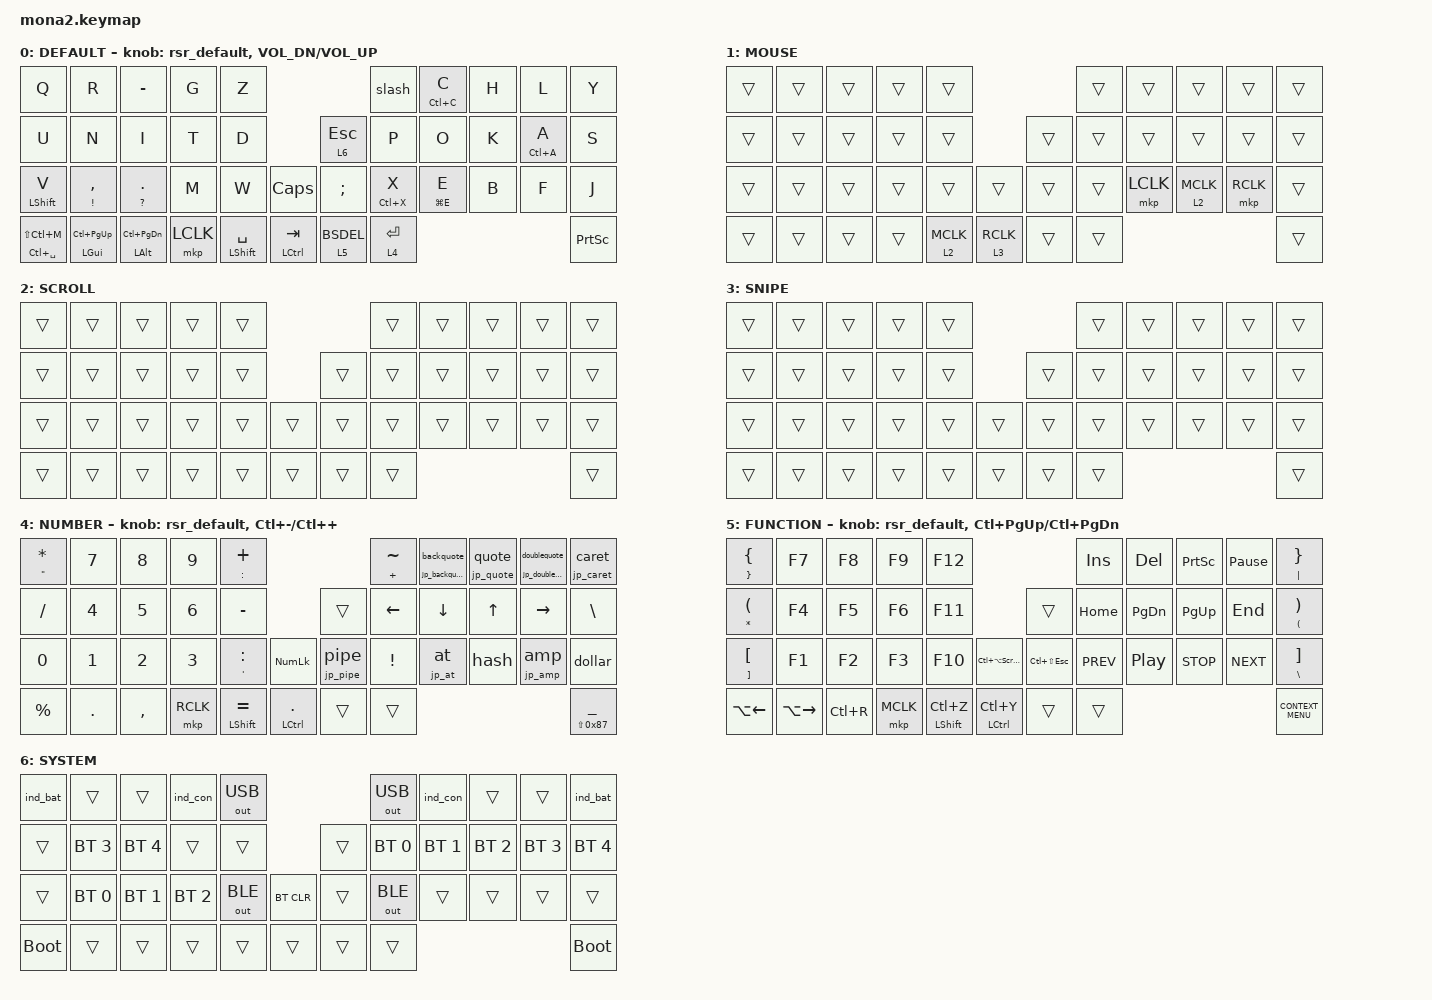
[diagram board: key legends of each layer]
#include <input/processors.dtsi>
#include <dt-bindings/zmk/input_transform.h>
#include <zephyr/dt-bindings/input/input-event-codes.h>
#include <behaviors.dtsi>
#include <behaviors/runtime-sensor-rotate.dtsi>
#include <dt-bindings/zmk/bt.h>
#include <dt-bindings/zmk/keys.h>
#include <dt-bindings/zmk/outputs.h>
#include <dt-bindings/zmk/pointing.h>
#include <behaviors/rgbled_widget.dtsi>

/* ZMK 側で 10 が定義済みなので警告回避のため一旦 undef */
#undef ZMK_POINTING_DEFAULT_SCRL_VAL
#define ZMK_POINTING_DEFAULT_SCRL_VAL 100

// OS設定を日本語キーボードのまま使用するための変換定義

#define JP_DOUBLE_QUOTES       AT                // "
#define JP_AMPERSAND    CARET             // &
#define JP_QUOTE        AMPERSAND         // '
#define JP_EQUAL        UNDER             // =
#define JP_CARET        EQUAL             // ^
#define JP_YEN          0x89              // ¥
#define JP_PLUS         COLON             // +
#define JP_TILDE        PLUS              // ~
#define JP_PIPE         LS(0x89)          // |
#define JP_AT           LEFT_BRACKET      // @
#define JP_COLON        SINGLE_QUOTE      // :
#define JP_ASTERISK     DOUBLE_QUOTES     // *
#define JP_BACKQUOTE    LEFT_BRACE        // `
#define JP_UNDERSCORE   LS(0x87)          // _
#define JP_LEFT_BRACKET     RIGHT_BRACKET     // [
#define JP_RIGHT_BRACKET     BACKSLASH         // ]
#define JP_LEFT_PARENTHESIS       ASTERISK          // (
#define JP_RIGHT_PARENTHESIS       LEFT_PARENTHESIS  // )
#define JP_LEFT_BRACE       RIGHT_BRACE       // {
#define JP_RIGHT_BRACE       PIPE              // }
#define JP_KANA         LANGUAGE_1        // かな
#define JP_EISU         LANGUAGE_2        // 英数
#define JP_HANZEN       GRAVE             // 半角/全角

&mt {
    quick-tap-ms = <175>;
    flavor = "tap-preferred";
};

&lt {
quick-tap-ms = <200>;
flavor = "balanced";
};

&msc {
delay-ms = <0>;
time-to-max-speed-ms = <0>;
acceleration-exponent = <0>;
};

/ {
    combos {
        compatible = "zmk,combos";

        IME_ON {
            bindings = <&imeonoff LA(GRAVE) LANGUAGE_1>;
            key-positions = <19 18>;
            layers = <0 1>;
        };

        win_mv_right {
            bindings = <&winmvright>;
            key-positions = <20 19>;
            slow-release;
            layers = <0 1>;
        };

        win_mv_left {
            bindings = <&winmvleft>;
            key-positions = <10 11>;
            slow-release;
            layers = <0 1>;
        };

        brackets {
            bindings = <&brack 0 0>;
            key-positions = <21 32>;
            layers = <0 1>;
        };

        parenthesis {
            bindings = <&paren 0 0>;
            key-positions = <10 20>;
            layers = <0 1>;
        };

        find_replace {
            bindings = <&holdtap LC(H) LC(F)>;
            key-positions = <22 21>;
            layers = <0 1>;
        };

        paste {
            bindings = <&holdtap LG(V) LC(V)>;
            key-positions = <18 17>;
            layers = <0 1>;
        };

        dblsft {
            bindings = <&DBLSFT>;
            key-positions = <12 13>;
            layers = <0 1>;
        };

        IME_OFF {
            bindings = <&kp LANGUAGE_2>;
            key-positions = <11 12>;
            layers = <0 1>;
        };

        braces {
            bindings = <&brace 0 0>;
            key-positions = <0 9>;
            layers = <0 1>;
        };

        undo {
            bindings = <&kp LC(Z)>;
            key-positions = <23 22>;
            layers = <0 1>;
        };

        redo {
            bindings = <&kp LC(Y)>;
            key-positions = <31 30>;
            layers = <0 1>;
        };

        taskview {
            bindings = <&kp LG(TAB)>;
            key-positions = <18 17>;
            layers = <4>;
        };

        close {
            bindings = <&holdtap LA(F4) LC(W)>;
            key-positions = <8 9>;
            layers = <0 1>;
        };

        maximize {
            bindings = <&kp LG(UP_ARROW)>;
            key-positions = <7 8>;
            layers = <0 1>;
        };

        minimize {
            bindings = <&kp LG(DOWN)>;
            key-positions = <6 7>;
            layers = <0 1>;
            timeout-ms = <50>;
            require-prior-idle-ms = <500>;
        };

        browse_back {
            bindings = <&kp LA(LEFT)>;
            key-positions = <0 1>;
            slow-release;
            layers = <0 1>;
        };

        browse_forward {
            bindings = <&kp LA(RIGHT)>;
            key-positions = <1 2>;
            slow-release;
            layers = <0 1>;
        };
    };

    macros {
        DBLSFT: DBLSFT {
            compatible = "zmk,behavior-macro";
            #binding-cells = <0>;
            bindings = <&kp LEFT_SHIFT &kp LEFT_SHIFT>;
        };

        DBLCTL: DBLCTL {
            compatible = "zmk,behavior-macro";
            #binding-cells = <0>;
            bindings = <&kp LCTRL &kp LCTRL>;
        };

        winmvright: winmvright {
            compatible = "zmk,behavior-macro";
            #binding-cells = <0>;
            bindings =
                <&macro_press>,
                <&kp LEFT_GUI &kp RIGHT>,
                <&macro_release>,
                <&kp RIGHT &kp LEFT_WIN>;
        };

        winmvleft: winmvleft {
            compatible = "zmk,behavior-macro";
            #binding-cells = <0>;
            bindings =
                <&macro_press>,
                <&kp LEFT_GUI &kp LEFT>,
                <&macro_release>,
                <&kp LEFT &kp LEFT_WIN>;
        };

        at: at {
            compatible = "zmk,behavior-macro";
            #binding-cells = <0>;
            bindings = <&kp LANGUAGE_2 &kp AT_SIGN>;
        };

        hash: hash {
            compatible = "zmk,behavior-macro";
            #binding-cells = <0>;
            bindings = <&kp LANGUAGE_2 &kp HASH>;
        };

        amp: amp {
            compatible = "zmk,behavior-macro";
            #binding-cells = <0>;
            bindings = <&kp LANGUAGE_2 &kp AMPERSAND>;
        };

        dollar: doller {
            compatible = "zmk,behavior-macro";
            #binding-cells = <0>;
            bindings = <&kp LANGUAGE_2 &kp DOLLAR>;
        };

        backquote: backquote {
            compatible = "zmk,behavior-macro";
            #binding-cells = <0>;
            bindings = <&kp LANGUAGE_2 &kp GRAVE>;
        };

        quote: quote {
            compatible = "zmk,behavior-macro";
            #binding-cells = <0>;
            bindings = <&kp LANGUAGE_2 &kp SINGLE_QUOTE>;
        };

        doublequote: doublequote {
            compatible = "zmk,behavior-macro";
            #binding-cells = <0>;
            bindings = <&kp LANGUAGE_2 &kp DOUBLE_QUOTES>;
        };

        caret: caret {
            compatible = "zmk,behavior-macro";
            #binding-cells = <0>;
            bindings = <&kp LANGUAGE_2 &kp CARET>;
        };

        pipe: pipe {
            compatible = "zmk,behavior-macro";
            #binding-cells = <0>;
            bindings = <&kp LANGUAGE_2 &kp PIPE>;
        };

        jp_at: jp_at {
            compatible = "zmk,behavior-macro";
            #binding-cells = <0>;
            bindings = <&kp LANGUAGE_2 &kp JP_AT>;
        };

        jp_amp: jp_amp {
            compatible = "zmk,behavior-macro";
            #binding-cells = <0>;
            bindings = <&kp LANGUAGE_2 &kp JP_AMPERSAND>;
        };

        jp_quote: jp_quote {
            compatible = "zmk,behavior-macro";
            #binding-cells = <0>;
            bindings = <&kp LANGUAGE_2 &kp JP_QUOTE>;
        };

        jp_doublequote: jp_doublequote {
            compatible = "zmk,behavior-macro";
            #binding-cells = <0>;
            bindings = <&kp LANGUAGE_2 &kp JP_DOUBLE_QUOTES>;
        };

        jp_caret: jp_caret {
            compatible = "zmk,behavior-macro";
            #binding-cells = <0>;
            bindings = <&kp LANGUAGE_2 &kp JP_CARET>;
        };

        jp_pipe: jp_pipe {
            compatible = "zmk,behavior-macro";
            #binding-cells = <0>;
            bindings = <&kp LANGUAGE_2 &kp JP_PIPE>;
        };

        parenthesis: parenthesis {
            compatible = "zmk,behavior-macro";
            #binding-cells = <0>;
            bindings = <&kp LANGUAGE_2 &kp LEFT_PARENTHESIS &kp RIGHT_PARENTHESIS &kp LEFT_ARROW>;
        };

        brackets: brackets {
            compatible = "zmk,behavior-macro";
            #binding-cells = <0>;
            bindings = <&kp LANGUAGE_2 &kp LEFT_BRACKET &kp RIGHT_BRACKET &kp LEFT>;
        };

        braces: braces {
            compatible = "zmk,behavior-macro";
            #binding-cells = <0>;
            bindings = <&kp LANGUAGE_2 &kp LEFT_BRACE &kp RIGHT_BRACE &kp LEFT>;
        };

        zen_parenthesis: zen_parenthesis {
            compatible = "zmk,behavior-macro";
            #binding-cells = <0>;
            bindings = <&kp LANGUAGE_1 &kp LEFT_PARENTHESIS &kp RIGHT_PARENTHESIS &kp ENTER &kp LEFT_ARROW>;
        };

        zen_brackets: zen_brackets {
            compatible = "zmk,behavior-macro";
            #binding-cells = <0>;
            bindings = <&kp LANGUAGE_1 &kp LEFT_BRACKET &kp RIGHT_BRACKET &kp ENTER &kp LEFT>;
        };

        zen_braces: zen_braces {
            compatible = "zmk,behavior-macro";
            #binding-cells = <0>;
            bindings = <&kp LANGUAGE_1 &kp LEFT_BRACE &kp RIGHT_BRACE &kp ENTER &kp LEFT>;
        };

        jp_backquote: jp_backquote {
            compatible = "zmk,behavior-macro";
            #binding-cells = <0>;
            bindings = <&kp LANGUAGE_2 &kp LEFT_BRACE>;
            label = "JP_BACKQUOTE";
        };
    };

    behaviors {
        BSDEL: BSDEL {
            compatible = "zmk,behavior-mod-morph";
            bindings = <&kp BSPC>, <&kp DELETE>;

            #binding-cells = <0>;
            mods = <(MOD_LSFT|MOD_RSFT)>;
        };

        lt_bsdel: lt_bsdel {
            compatible = "zmk,behavior-hold-tap";
            bindings = <&mo>, <&BSDEL>;

            #binding-cells = <2>;
            tapping-term-ms = <200>;
            quick-tap-ms = <300>;
            flavor = "tap-preferred";
        };

        imeonoff: imeonoff {
            compatible = "zmk,behavior-hold-tap";
            bindings = <&kp>, <&kp>;

            #binding-cells = <2>;
            tapping-term-ms = <200>;
            flavor = "tap-preferred";
        };

        holdtap: holdtap {
            compatible = "zmk,behavior-hold-tap";
            bindings = <&kp>, <&kp>;

            #binding-cells = <2>;
            tapping-term-ms = <300>;
            flavor = "tap-preferred";
            quick-tap-ms = <250>;
            require-prior-idle-ms = <150>;
            hold-trigger-on-release;
        };

        paren: paren {
            compatible = "zmk,behavior-hold-tap";
            bindings = <&zen_parenthesis>, <&parenthesis>;

            #binding-cells = <2>;
            flavor = "tap-preferred";
            tapping-term-ms = <200>;
        };

        brack: brack {
            compatible = "zmk,behavior-hold-tap";
            bindings = <&zen_brackets>, <&brackets>;

            #binding-cells = <2>;
            tapping-term-ms = <200>;
            flavor = "tap-preferred";
        };

        brace: brace {
            compatible = "zmk,behavior-hold-tap";
            bindings = <&zen_braces>, <&braces>;

            #binding-cells = <2>;
            tapping-term-ms = <200>;
            flavor = "tap-preferred";
        };

        mkp_layer: mkp_layer {
            compatible = "zmk,behavior-hold-tap";
            bindings = <&mo>, <&mkp>;

            #binding-cells = <2>;
            tapping-term-ms = <200>;
        };

        slash: slash {
            compatible = "zmk,behavior-mod-morph";
            bindings = <&kp SLASH>, <&kp BACKSLASH>;

            #binding-cells = <0>;
            mods = <(MOD_LSFT|MOD_RSFT)>;
        };

        mt_slash: mt_slash {
            compatible = "zmk,behavior-hold-tap";
            bindings = <&kp>, <&slash>;

            #binding-cells = <2>;
            tapping-term-ms = <300>;
            quick-tap-ms = <250>;
            require-prior-idle-ms = <150>;
            flavor = "tap-preferred";
            hold-trigger-on-release;
        };

        uj_backquote: uj_backquote {
            compatible = "zmk,behavior-hold-tap";
            label = "UJ_BACKQUOTE";
            bindings = <&jp_backquote>, <&backquote>;

            #binding-cells = <2>;
            tapping-term-ms = <200>;
            flavor = "tap-preferred";
        };

        uj_quote: uj_quote {
            compatible = "zmk,behavior-hold-tap";
            label = "UJ_QUOTE";
            bindings = <&jp_quote>, <&quote>;

            #binding-cells = <2>;
            tapping-term-ms = <200>;
            flavor = "tap-preferred";
        };

        uj_doublequote: uj_doublequote {
            compatible = "zmk,behavior-hold-tap";
            label = "UJ_DOUBLEQUOTE";
            bindings = <&jp_doublequote>, <&doublequote>;

            #binding-cells = <2>;
            tapping-term-ms = <200>;
            flavor = "tap-preferred";
        };

        uj_caret: uj_caret {
            compatible = "zmk,behavior-hold-tap";
            label = "UJ_CARET";
            bindings = <&jp_caret>, <&caret>;

            #binding-cells = <2>;
            tapping-term-ms = <200>;
            flavor = "tap-preferred";
        };

        uj_pipe: uj_pipe {
            compatible = "zmk,behavior-hold-tap";
            label = "UJ_PIPE";
            bindings = <&jp_pipe>, <&pipe>;

            #binding-cells = <2>;
            tapping-term-ms = <200>;
            flavor = "tap-preferred";
        };

        uj_at: uj_at {
            compatible = "zmk,behavior-hold-tap";
            label = "UJ_AT";
            bindings = <&jp_at>, <&at>;

            #binding-cells = <2>;
            tapping-term-ms = <200>;
            flavor = "tap-preferred";
        };

        uj_amp: uj_amp {
            compatible = "zmk,behavior-hold-tap";
            label = "UJ_AMP";
            bindings = <&jp_amp>, <&amp>;

            #binding-cells = <2>;
            tapping-term-ms = <200>;
            flavor = "tap-preferred";
        };

        // エンコーダ用 runtime-configurable sensor rotate
        // デフォルトはスクロール (cw=SCRL_DOWN, ccw=SCRL_UP)
        // DYA Studio Web UI から レイヤーごとに cw/ccw の binding を
        // kp C_VOL_UP/DN や kp LEFT/RIGHT などへ動的変更可能
        rsr_default: rsr_default {
        compatible = "zmk,behavior-runtime-sensor-rotate";
        #sensor-binding-cells = <0>;
        tap-ms = <16>;
        cw-binding = <&msc SCRL_DOWN>;
        ccw-binding = <&msc SCRL_UP>;
        };

    };

    keymap {
        compatible = "zmk,keymap";

        DEFAULT {
            bindings = <
&kp Q                         &kp R                          &kp MINUS                        &kp G      &kp Z                                               &slash            &holdtap LC(C) C  &kp H  &kp L             &kp Y
&kp U                         &kp N                          &kp I                            &kp T      &kp D                                &lt 6 ESC      &kp P             &kp O             &kp K  &holdtap LC(A) A  &kp S
&holdtap LEFT_SHIFT V         &holdtap EXCLAMATION COMMA     &holdtap QUESTION PERIOD         &kp M      &kp W             &kp CAPSLOCK       &kp SEMICOLON  &holdtap LC(X) X  &holdtap LG(E) E  &kp B  &kp F             &kp J
&holdtap LC(SPACE) LS(LC(M))  &holdtap LEFT_GUI LC(PAGE_UP)  &holdtap LEFT_ALT LC(PAGE_DOWN)  &mkp LCLK  &mt LSHIFT SPACE  &mt LCTRL TAB      &lt_bsdel 5 0  &lt 4 ENTER                                                  &kp PRINTSCREEN
            >;

            sensor-bindings = <&rsr_default>,<&inc_dec_kp C_VOL_DN C_VOL_UP>;
        };

        MOUSE {
            bindings = <
&trans  &trans  &trans  &trans  &trans                                            &trans  &trans     &trans             &trans     &trans
&trans  &trans  &trans  &trans  &trans                                    &trans  &trans  &trans     &trans             &trans     &trans
&trans  &trans  &trans  &trans  &trans             &trans                 &trans  &trans  &mkp LCLK  &mkp_layer 2 MCLK  &mkp RCLK  &trans
&trans  &trans  &trans  &trans  &mkp_layer 2 MCLK  &mkp_layer 3 RCLK      &trans  &trans                                           &trans
            >;
        };

        SCROLL {
            bindings = <
&trans  &trans  &trans  &trans  &trans                      &trans  &trans  &trans  &trans  &trans
&trans  &trans  &trans  &trans  &trans              &trans  &trans  &trans  &trans  &trans  &trans
&trans  &trans  &trans  &trans  &trans  &trans      &trans  &trans  &trans  &trans  &trans  &trans
&trans  &trans  &trans  &trans  &trans  &trans      &trans  &trans                          &trans
            >;
        };

        SNIPE {
            bindings = <
&trans  &trans  &trans  &trans  &trans                      &trans  &trans  &trans  &trans  &trans
&trans  &trans  &trans  &trans  &trans              &trans  &trans  &trans  &trans  &trans  &trans
&trans  &trans  &trans  &trans  &trans  &trans      &trans  &trans  &trans  &trans  &trans  &trans
&trans  &trans  &trans  &trans  &trans  &trans      &trans  &trans                          &trans
            >;
        };

        NUMBER {
            bindings = <
&holdtap JP_ASTERISK ASTERISK  &kp NUMBER_7  &kp NUMBER_8  &kp NUMBER_9  &holdtap JP_PLUS PLUS                                        &holdtap JP_TILDE TILDE  &uj_backquote 0 0  &uj_quote 0 0  &uj_doublequote 0 0  &uj_caret 0 0
&kp SLASH                      &kp NUMBER_4  &kp NUMBER_5  &kp NUMBER_6  &kp MINUS                                      &trans        &kp LEFT                 &kp DOWN           &kp UP_ARROW   &kp RIGHT            &kp BACKSLASH
&kp N0                         &kp NUMBER_1  &kp NUMBER_2  &kp NUMBER_3  &holdtap JP_COLON COLON  &kp KP_NUMLOCK        &uj_pipe 0 0  &kp EXCLAMATION          &uj_at 0 0         &hash          &uj_amp 0 0          &dollar
&kp PERCENT                    &kp PERIOD    &kp COMMA     &mkp RCLK     &mt LEFT_SHIFT EQUAL     &mt LCTRL PERIOD      &trans        &trans                                                                          &holdtap JP_UNDERSCORE UNDER
            >;

            sensor-bindings = <&rsr_default>,<&inc_dec_kp LC(MINUS) LC(PLUS)>;
        };

        FUNCTION {
            bindings = <
&holdtap JP_LEFT_BRACE LEFT_BRACE              &kp F7         &kp F8     &kp F9     &kp F12                                                           &kp INSERT  &kp DELETE        &kp PRINTSCREEN  &kp PAUSE_BREAK  &holdtap JP_RIGHT_BRACE RIGHT_BRACE
&holdtap JP_LEFT_PARENTHESIS LEFT_PARENTHESIS  &kp F4         &kp F5     &kp F6     &kp F11                                       &trans              &kp HOME    &kp PAGE_DOWN     &kp PAGE_UP      &kp END          &holdtap JP_RIGHT_PARENTHESIS RIGHT_PARENTHESIS
&holdtap JP_LEFT_BRACKET LEFT_BRACKET          &kp F1         &kp F2     &kp F3     &kp F10           &kp LC(LA(SCROLLLOCK))      &kp LC(LS(ESCAPE))  &kp C_PREV  &kp C_PLAY_PAUSE  &kp C_STOP       &kp C_NEXT       &holdtap JP_RIGHT_BRACKET RIGHT_BRACKET
&kp LA(LEFT_ARROW)                             &kp LA(RIGHT)  &kp LC(R)  &mkp MCLK  &mt LSHIFT LC(Z)  &mt LCTRL LC(Y)             &trans              &trans                                                          &kp K_CONTEXT_MENU
            >;

            sensor-bindings = <&rsr_default>,<&inc_dec_kp LC(PAGE_UP) LC(PAGE_DOWN)>;
        };

        SYSTEM {
            bindings = <
&ind_bat     &trans        &trans        &ind_con      &out OUT_USB                          &out OUT_USB  &ind_con      &trans        &trans        &ind_bat
&trans       &bt BT_SEL 3  &bt BT_SEL 4  &trans        &trans                        &trans  &bt BT_SEL 0  &bt BT_SEL 1  &bt BT_SEL 2  &bt BT_SEL 3  &bt BT_SEL 4
&trans       &bt BT_SEL 0  &bt BT_SEL 1  &bt BT_SEL 2  &out OUT_BLE  &bt BT_CLR      &trans  &out OUT_BLE  &trans        &trans        &trans        &trans
&bootloader  &trans        &trans        &trans        &trans        &trans          &trans  &trans                                                  &bootloader
            >;
        };
    };
};
